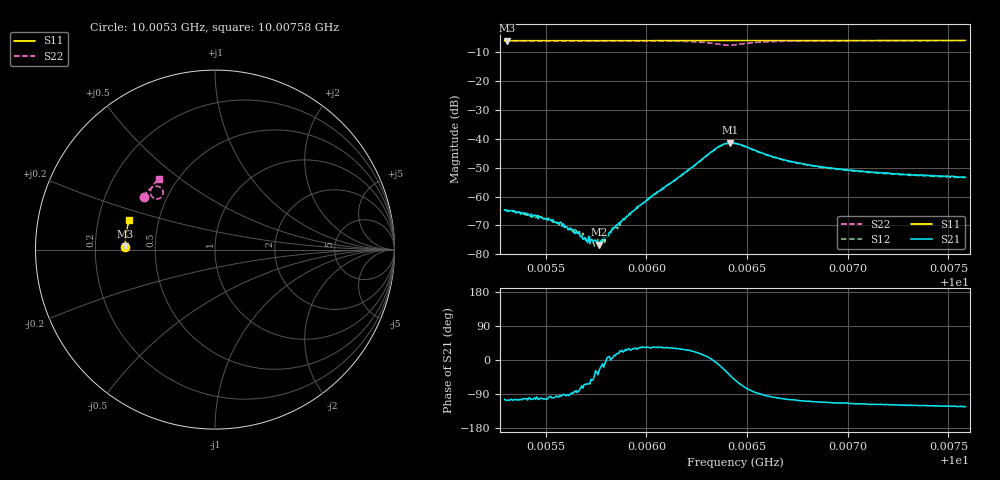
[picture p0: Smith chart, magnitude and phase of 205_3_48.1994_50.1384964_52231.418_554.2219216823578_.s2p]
#  HZ  S  RI  R  50.00
! Rohde & Schwarz Vector Network Analyzer
! Rohde-Schwarz,ZNB20-2Port,1311601062101988,3.16
! Created: UTC 3/20/2024, 11:45:12 AM
! freq[Hz]  re:S11  im:S11  re:S21  im:S21  re:S12  im:S12  re:S22  im:S22
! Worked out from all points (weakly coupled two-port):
!   401 points, 10.0053 GHz to 10.00758 GHz, reference 50 ohm
!   highest |S21| = -41.38 dB at 10.00642 GHz (marker M1); lowest = -76.7 dB at 10.00576 GHz (marker M2)
!   lowest |S11| = -6.0 dB at 10.00531 GHz (marker M3), VSWR 3.00, Z = 16.7 + j0.773 ohm
!   |S11| at or under -10 dB: nowhere
!   |S22| runs from -7.6 to -6.0 dB; largest |S21 - S12| = 0.00051
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1.0005295e10  -0.5 0.0166  -0.000139 -0.000565  -0.000141 -0.000572  -0.3981 0.2955
1.0005307e10  -0.4999 0.0174  -0.000159 -0.000532  -0.000107 -0.000577  -0.3977 0.2962
1.0005398e10  -0.5001 0.0235  -0.000112 -0.000509  -8e-05 -0.000479  -0.394 0.3015
1.0005524e10  -0.4999 0.0317  -4.18e-05 -0.000396  -4.25e-05 -0.000389  -0.3885 0.3089
1.0005627e10  -0.4995 0.0383  1.41e-05 -0.000271  1.7e-05 -0.000268  -0.3837 0.3152
1.0005679e10  -0.4994 0.0418  7.56e-05 -0.00019  5.98e-05 -0.0002  -0.3813 0.3185
1.0005702e10  -0.4993 0.0431  7.81e-05 -0.000156  7.16e-05 -0.000159  -0.3801 0.3199
1.0005725e10  -0.4993 0.0447  0.000125 -0.000152  0.000105 -0.000155  -0.3787 0.3213
1.0005742e10  -0.4991 0.0458  0.000131 -0.000116  0.000119 -7.07e-05  -0.378 0.3224
1.0005765e10  -0.4991 0.0473  0.000129 -6.73e-05  0.000165 -7.97e-05  -0.3767 0.3238
1.0005782e10  -0.499 0.0483  0.000178 -3.19e-05  0.000155 -5.16e-05  -0.3756 0.3249
1.000589e10  -0.4985 0.0554  0.000363 0.000156  0.000363 0.00019  -0.3689 0.3321
1.0005959e10  -0.4981 0.0599  0.000582 0.000352  0.000543 0.000375  -0.3638 0.3368
1.0006062e10  -0.4975 0.0665  0.00102 0.000691  0.00099 0.00071  -0.3545 0.3439
1.0006348e10  -0.4946 0.0849  0.00687 -0.000907  0.00675 -0.000568  -0.2911 0.3294
1.0006388e10  -0.494 0.0872  0.00735 -0.00365  0.00734 -0.00323  -0.2912 0.3042
1.0006417e10  -0.4938 0.0887  0.00639 -0.00566  0.00652 -0.00521  -0.3033 0.2887
1.000644e10  -0.4937 0.09  0.00507 -0.00669  0.0053 -0.0063  -0.3171 0.2827
1.0006652e10  -0.4921 0.1035  -0.000779 -0.00457  -0.000585 -0.0045  -0.3592 0.3265
1.0006823e10  -0.4902 0.1147  -0.0012 -0.00325  -0.00101 -0.00326  -0.3517 0.3476
1.0007207e10  -0.4848 0.1389  -0.0012 -0.00222  -0.00107 -0.00224  -0.3316 0.3742
1.0007584e10  -0.4781 0.1623  -0.00118 -0.0018  -0.00107 -0.00184  -0.3123 0.3935
